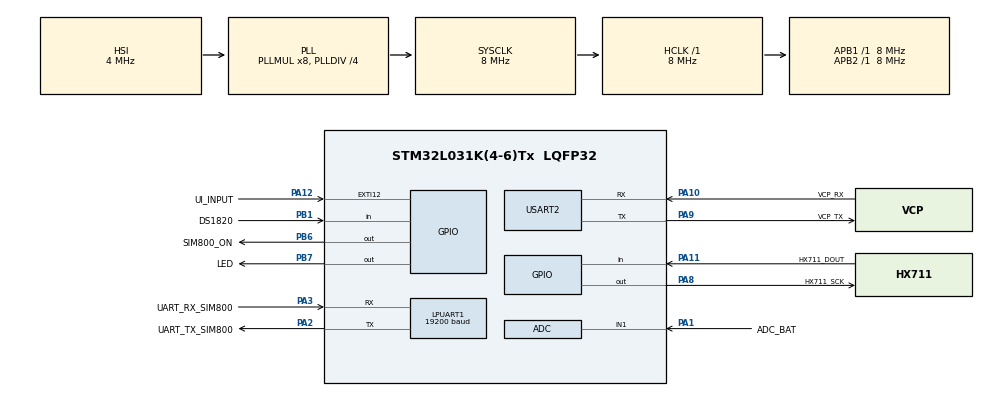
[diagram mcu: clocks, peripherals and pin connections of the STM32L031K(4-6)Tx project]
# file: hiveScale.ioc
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ADC.SamplingTime=ADC_SAMPLETIME_160CYCLES_5
LPUART1.BaudRate=19200
LPUART1.WordLength=UART_WORDLENGTH_8B
Mcu.Family=STM32L0
Mcu.Name=STM32L031K(4-6)Tx
Mcu.Package=LQFP32
Mcu.UserConstants=MODULE_SLEEPTIME,300;ALARM_MIN,2;ALARM_SEC,10;ALARM_HR,0;TIM_PRESCALER_100USEC_AT_8MHZ,800;TIM_PRESCALER_10USEC_AT_8MHZ,80;TIM_PRESCALER_1MSEC_AT_8MHZ,8000;TIM_PERIOD_100MSEC,100;TIM_PERIOD_200MSEC,200;TIM_PERIOD_3MSEC,3
NVIC.EXTI4_15_IRQn=true\:0\:0\:false\:false\:true\:true\:true
NVIC.LPUART1_IRQn=true\:0\:0\:false\:false\:true\:true\:true
NVIC.RTC_IRQn=true\:0\:0\:false\:false\:true\:true\:true
NVIC.TIM21_IRQn=true\:0\:0\:false\:false\:true\:true\:true
NVIC.TIM2_IRQn=true\:0\:0\:false\:false\:true\:true\:true
NVIC.USART2_IRQn=true\:0\:0\:false\:false\:true\:true\:true
PA1.GPIO_Label=ADC_BAT
PA1.Mode=IN1
PA1.Signal=ADC_IN1
PA10.GPIO_Label=VCP_RX
PA10.Mode=Asynchronous
PA10.Signal=USART2_RX
PA11.GPIO_Label=HX711_DOUT
PA11.Signal=GPIO_Input
PA12.GPIO_Label=UI_INPUT
PA12.GPIO_ModeDefaultEXTI=GPIO_MODE_IT_FALLING
PA12.GPIO_PuPd=GPIO_PULLUP
PA12.Signal=GPXTI12
PA13.GPIO_Label=TMS
PA13.Mode=Serial_Wire
PA13.Signal=SYS_SWDIO
PA14.GPIO_Label=TCK
PA14.Mode=Serial_Wire
PA14.Signal=SYS_SWCLK
PA2.GPIO_Label=UART_TX_SIM800
PA2.Mode=Asynchronous
PA2.Signal=LPUART1_TX
PA3.GPIO_Label=UART_RX_SIM800
PA3.Mode=Asynchronous
PA3.Signal=LPUART1_RX
PA8.GPIO_Label=HX711_SCK
PA8.PinState=GPIO_PIN_SET
PA8.Signal=GPIO_Output
PA9.GPIO_Label=VCP_TX
PA9.Mode=Asynchronous
PA9.Signal=USART2_TX
PB1.GPIO_Label=DS1820
PB1.Signal=GPIO_Input
PB6.GPIO_Label=SIM800_ON
PB6.PinState=GPIO_PIN_SET
PB6.Signal=GPIO_Output
PB7.GPIO_Label=LED
PB7.Signal=GPIO_Output
PC14-OSC32_IN.Mode=LSE-External-Oscillator
PC14-OSC32_IN.Signal=RCC_OSC32_IN
PC15-OSC32_OUT.Mode=LSE-External-Oscillator
PC15-OSC32_OUT.Signal=RCC_OSC32_OUT
ProjectManager.HeapSize=0x200
ProjectManager.StackSize=0x400
ProjectManager.TargetToolchain=STM32CubeIDE
RCC.ADCFreq_Value=4000000
RCC.AHBFreq_Value=8000000
RCC.APB1Freq_Value=8000000
RCC.APB1TimFreq_Value=8000000
RCC.APB2Freq_Value=8000000
RCC.APB2TimFreq_Value=8000000
RCC.HCLKFreq_Value=8000000
RCC.HSE_VALUE=8000000
RCC.HSI16_VALUE=16000000
RCC.HSI48_VALUE=48000000
RCC.HSIRCDiv=4
RCC.HSI_VALUE=4000000
RCC.Lpuart1ClockSelection=RCC_LPUART1CLKSOURCE_SYSCLK
RCC.MSI_VALUE=2097000
RCC.PLLDIV=RCC_PLLDIV_4
RCC.PLLMUL=RCC_PLLMUL_8
RCC.RTCClockSelection=RCC_RTCCLKSOURCE_LSE
RCC.RTCClockSelectionVirtual=RCC_RTCCLKSOURCE_LSE
RCC.SYSCLKFreq_VALUE=8000000
RCC.SYSCLKSource=RCC_SYSCLKSOURCE_PLLCLK
RCC.TimPrescaler=SYSTICK_CLKSOURCE_HCLK_DIV8
RCC.VCOOutputFreq_Value=32000000
RCC.VDD_VALUE=3
RTC.Alarm-Alarm\ A=RTC_ALARM_A
RTC.AlarmDateWeekDay-Alarm\ A=RTC_WEEKDAY_SATURDAY
RTC.AlarmDateWeekDaySel-Alarm\ A=RTC_ALARMDATEWEEKDAYSEL_WEEKDAY
RTC.AlarmMaskDateWeekDay-Alarm\ A=RTC_ALARMMASK_DATEWEEKDAY
RTC.AlarmSubSecondMask-Alarm\ A=RTC_ALARMSUBSECONDMASK_ALL
RTC.Date=23
RTC.Format=RTC_FORMAT_BIN
RTC.Hours=0
RTC.Hours_A-Alarm\ A=23
RTC.Minutes=0
RTC.Minutes_A-Alarm\ A=55
RTC.Seconds_A-Alarm\ A=0
RTC.WakeUpClock-WakeUp=RTC_WAKEUPCLOCK_CK_SPRE_16BITS
RTC.WakeUpCounter-WakeUp=MODULE_SLEEPTIME
RTC.WeekDay=RTC_WEEKDAY_SATURDAY
RTC.Year=21
TIM2.AutoReloadPreload=TIM_AUTORELOAD_PRELOAD_ENABLE
TIM2.ClockDivision=TIM_CLOCKDIVISION_DIV4
TIM2.CounterMode=TIM_COUNTERMODE_DOWN
TIM2.Period=TIM_PERIOD_200MSEC
TIM2.Prescaler=TIM_PRESCALER_1MSEC_AT_8MHZ
TIM21.AutoReloadPreload=TIM_AUTORELOAD_PRELOAD_ENABLE
TIM21.ClockDivision=TIM_CLOCKDIVISION_DIV4
TIM21.CounterMode=TIM_COUNTERMODE_UP
TIM21.Period=TIM_PERIOD_3MSEC
TIM21.Prescaler=TIM_PRESCALER_1MSEC_AT_8MHZ
USART2.VirtualMode-Asynchronous=VM_ASYNC
VP_RTC_VS_RTC_Activate.Mode=RTC_Enabled
VP_RTC_VS_RTC_Alarm_A_Intern.Mode=Alarm A
VP_RTC_VS_RTC_Calendar.Mode=RTC_Calendar
VP_RTC_VS_RTC_WakeUp_intern.Mode=WakeUp
VP_TIM21_VS_ClockSourceINT.Mode=Internal
VP_TIM2_VS_ClockSourceINT.Mode=Internal
board=NUCLEO-L031K6

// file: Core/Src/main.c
/* USER CODE BEGIN Header */
/**
 ******************************************************************************
 * @file           : main.c
 * @brief          : Main program body
 ******************************************************************************
 *
 * This software is published under GNU General Public License v3.0.
 * It is hosted on github: https://github.com/schwedenhof/hiveScale
 *
 * Author: Drk Fischer, www.schwedenhof.net
 *
 ******************************************************************************
 */
/* USER CODE END Header */
#include "main.h"

/* USER CODE BEGIN Includes */
#include "printf.h"
#include <string.h>
#include <stdlib.h>
#include <stdio.h>
#include "remanentDataHandler.h"
#include "terminalHandler.h"
#include "uartHandler.h"
#include "ringBuffer.h"
#include "hx711.h"

/* USER CODE END Includes */

ADC_HandleTypeDef hadc;

UART_HandleTypeDef hlpuart1;
UART_HandleTypeDef huart2;

RTC_HandleTypeDef hrtc;

TIM_HandleTypeDef htim2;
TIM_HandleTypeDef htim21;

/* USER CODE BEGIN PV */
APP_DATA_T g_tAppData={0};

/* USER CODE END PV */

void SystemClock_Config(void);
static void MX_GPIO_Init(void);
static void MX_LPUART1_UART_Init(void);
static void MX_USART2_UART_Init(void);
static void MX_RTC_Init(void);
static void MX_TIM2_Init(void);
static void MX_ADC_Init(void);
static void MX_TIM21_Init(void);

/* USER CODE BEGIN 0 */

void _putchar(char character){

	HAL_UART_Transmit(g_tAppData.tUart[APP_UART2].phUart, (uint8_t*) &character, (uint16_t)1,FASTUART_TIMEOUT);

}

void App_FlashLed(int iLedFlashCnt,uint32_t ulFlashPeriod){
	while(iLedFlashCnt--){
		HAL_GPIO_TogglePin(LED_GPIO_Port, LED_Pin);
		HAL_Delay(ulFlashPeriod);
		HAL_GPIO_TogglePin(LED_GPIO_Port, LED_Pin);
		HAL_Delay(ulFlashPeriod);
	}
}

void HAL_GPIO_EXTI_Callback(uint16_t GPIO_Pin){
	if(GPIO_Pin==UI_INPUT_Pin){
		if(g_tAppData.iSystemStateNext!=APP_SYSTEM_RUN){
			g_tAppData.iSystemStateNext=APP_SYSTEM_WAKEUP;
		}
	}
}

void HAL_RTC_AlarmAEventCallback(RTC_HandleTypeDef* hrtc){
	SystemClock_Config();
	g_tAppData.iSystemStateNext=APP_SYSTEM_ALARM;
}

// TIMEBASE for button and LED handling
void HAL_TIM_PeriodElapsedCallback(TIM_HandleTypeDef *phtim){

	if(phtim==&htim21){
		// LPUART1 RX timeout
		HAL_TIM_Base_Stop_IT(&htim21); // stop timeout timer
		HAL_GPIO_TogglePin(LED_GPIO_Port,  LED_Pin);
		HAL_GPIO_TogglePin(LED_GPIO_Port,  LED_Pin);
		if(g_tAppData.tUart[APP_LPUART1].fRxMsg == UART_RX_ONGOING){
			g_tAppData.tUart[APP_LPUART1].fRxMsg=UART_RX_ENDOFFRAME;
		}
	}

	if(phtim==&htim2){
		// time base for user interface button and LED
		g_tAppData.ulTimTick++;

		if(!(g_tAppData.ulTimTick%g_tAppData.iBlinkPeriod)){
			if(g_tAppData.fBlink){
				HAL_GPIO_WritePin(LED_GPIO_Port, LED_Pin, GPIO_PIN_SET);
			}

			// check user interface input signal
			if(GPIO_PIN_RESET == HAL_GPIO_ReadPin(UI_INPUT_GPIO_Port, UI_INPUT_Pin)){
				// active input signal detected
				switch (g_tAppData.iCmdState){

				case APP_CMD_STATE_IDLE: // start, first active input detected
					g_tAppData.iCmd=1;
					g_tAppData.iCmdState=APP_CMD_STATE_ACTIVE;
					break;

				case APP_CMD_STATE_ACTIVE: // ongoing active input state
					g_tAppData.iCmd++;
					break;

				case APP_CMD_STATE_END: // new active phase, but last cmd not acknowledged yet
					// do nothing
					break;

				default: // should never happen
					g_tAppData.iCmdState=APP_CMD_STATE_IDLE; // reset state machine
					g_tAppData.iCmd=0; // reset cmd code
					break;
				}
			}
		}
		else {
			HAL_GPIO_WritePin(LED_GPIO_Port, LED_Pin, GPIO_PIN_RESET);
		}

		if(GPIO_PIN_SET == HAL_GPIO_ReadPin(UI_INPUT_GPIO_Port, UI_INPUT_Pin)) { // inactive input
			switch (g_tAppData.iCmdState){

			case APP_CMD_STATE_IDLE: // idle wait for first active signal
				g_tAppData.iCmd=APP_CMD_STATE_IDLE; // reset cmd code
				break;

			case APP_CMD_STATE_ACTIVE: // end, first inactive state after active phase
				g_tAppData.iCmdState=APP_CMD_STATE_END;
				break;

			case APP_CMD_STATE_END: // idle, cmd not executed yet, wait for command acknowledge
				break;

			default:  // should never happen
				g_tAppData.iCmdState=APP_CMD_STATE_IDLE; // reset state machine
				g_tAppData.iCmd=0; // reset cmd code
				break;
			}
		}
	}
}

static void App_Init(void){
	g_tAppData.tUart[APP_LPUART1].phUart=&hlpuart1;
	g_tAppData.tUart[APP_UART2].phUart=&huart2;
	g_tAppData.phtim2=&htim2;
	g_tAppData.phtim21=&htim21;
	g_tAppData.phrtc=&hrtc;
	g_tAppData.phadc=&hadc;

	HAL_RTC_GetAlarm(g_tAppData.phrtc, &g_tAppData.tAlarm, RTC_ALARM_A, RTC_FORMAT_BIN);

	g_tAppData.iErrorCnt=0;

	g_tAppData.iSystemState=APP_SYSTEM_STOP;
	g_tAppData.iSystemStateNext=APP_SYSTEM_STOP;

	g_tAppData.fBlink=1;
	g_tAppData.iBlinkPeriod=5;

	g_tAppData.iCmd=0;
	g_tAppData.iCmdState=APP_CMD_STATE_IDLE;

	Rb_BufferClear();

	terminalInitCmdList();
}

void App_Hx711Init(void){
	HX711_CONFIG_T tHx711Config;

	tHx711Config.eGain=HX711_GAIN_128;
	tHx711Config.iIgnoreBits=8;
	tHx711Config.iArraySize=1;
	tHx711Config.iFilterDeviation=40;
	tHx711Config.iMeasurementPause=50;
	tHx711Config.ulTara=g_tAppData.tRemanentData.ulTara;
	tHx711Config.ulCali=g_tAppData.tRemanentData.ulCali;
	hx711_init(&tHx711Config);

}

void App_AlarmInit(void){
	HAL_RTCEx_SetWakeUpTimer_IT(g_tAppData.phrtc, g_tAppData.tRemanentData.ulWakeupPeriod, RTC_WAKEUPCLOCK_CK_SPRE_16BITS);
	g_tAppData.tAlarm.AlarmTime.Hours=g_tAppData.tRemanentData.bAlarmHrs;
	g_tAppData.tAlarm.AlarmTime.Minutes=g_tAppData.tRemanentData.bAlarmMin;
	HAL_RTC_SetAlarm_IT(g_tAppData.phrtc, &g_tAppData.tAlarm, RTC_FORMAT_BIN);
}

APP_RETURN_E App_Sim800On(void){
	return APP_OK;
}

void App_ErrorHandler(void){
	while(1){
	}
}

/* USER CODE END 0 */

int main(void)
{
  /* USER CODE BEGIN 1 */
	HAL_StatusTypeDef eStat=HAL_OK;
  /* USER CODE END 1 */

  /* MCU Configuration--------------------------------------------------------*/

  /* Reset of all peripherals, Initializes the Flash interface and the Systick. */
  HAL_Init();

  /* Configure the system clock */
  SystemClock_Config();

  /* Initialize all configured peripherals */
  MX_GPIO_Init();
  MX_LPUART1_UART_Init();
  MX_USART2_UART_Init();
  MX_TIM2_Init();
  MX_ADC_Init();
  MX_TIM21_Init();
  /* USER CODE BEGIN 2 */

	MX_RTC_Init();
#if(0)
	/*##-Check if Data stored in BackUp register1: No Need to reconfigure RTC if flag is set#*/
	/* Read the Back Up Register 0 Data */
	if (!((HAL_RTCEx_BKUPRead(&hrtc, RTC_BKP_DR0)&BKUP_FLAG_RTC))){
		/* Configure RTC Calendar only if flag not set*/
		MX_RTC_Init();
	}
	else {
		hrtc.Instance = RTC;
		hrtc.Init.HourFormat = RTC_HOURFORMAT_24;
		hrtc.Init.AsynchPrediv = 127;
		hrtc.Init.SynchPrediv = 255;
		hrtc.Init.OutPut = RTC_OUTPUT_DISABLE;
		hrtc.Init.OutPutRemap = RTC_OUTPUT_REMAP_NONE;
		hrtc.Init.OutPutPolarity = RTC_OUTPUT_POLARITY_HIGH;
		hrtc.Init.OutPutType = RTC_OUTPUT_TYPE_OPENDRAIN;
		if (HAL_RTC_Init(&hrtc) != HAL_OK)
		{
			Error_Handler();
		}
	}
#endif

	App_Init();
	Term_TerminalCommandHandler(TERM_SIM800_OFF,0,0);

	// start cyclic timer for user interface button and LED -> reload event is handled in callback function
	HAL_TIM_Base_Start_IT(&htim2);
	printf("Hello hiveScale" APP_EOL);

	// start waiting for incoming data -> RX event will be handled in callback function
	HAL_UART_Receive_IT(g_tAppData.tUart[APP_UART2].phUart, &g_tAppData.tUart[APP_UART2].abRxBuffer[g_tAppData.tUart[APP_UART2].iRxIdx], 1);

	Rd_Load((uint8_t*)&g_tAppData.tRemanentData, sizeof(g_tAppData.tRemanentData));
	App_Hx711Init();
	App_AlarmInit();

	// clear wakeup interrupt flag in order to enter standby mode again
	__HAL_PWR_CLEAR_FLAG(PWR_FLAG_WU);
	__HAL_RTC_CLEAR_FLAG(RTC_ISR_ALRAF);

	// start/stop time once
	// not sure why this is necessary, has to be checked
	HAL_TIM_Base_Start_IT(&htim21); // start UART timeout timer
	HAL_TIM_Base_Stop_IT(&htim21); // stop UART timeout timer
	__HAL_TIM_SET_COUNTER(&htim21,0);

#ifdef DEBUG
	g_tAppData.iSystemStateNext=APP_SYSTEM_RUN;
#else
	Term_TerminalCommandHandler(TERM_SIM800_ON,0,0);
	Term_TerminalCommandHandler(TERM_SETTIME,0,0);
	Term_TerminalCommandHandler(TERM_SIM800_OFF,0,0);
#endif

	HAL_RTC_GetTime(g_tAppData.phrtc, &g_tAppData.tTime, RTC_FORMAT_BIN);
	HAL_RTC_GetDate(g_tAppData.phrtc, &g_tAppData.tDate, RTC_FORMAT_BIN);
	printf("%04d-%02d-%02d %02d:%02d:%02d" APP_EOL, g_tAppData.tDate.Year+2000, g_tAppData.tDate.Month, g_tAppData.tDate.Date, g_tAppData.tTime.Hours, g_tAppData.tTime.Minutes, g_tAppData.tTime.Seconds);

  /* USER CODE END 2 */

  /* Infinite loop */
  /* USER CODE BEGIN WHILE */
	while(1){

		g_tAppData.iSystemState=g_tAppData.iSystemStateNext;

		switch(g_tAppData.iSystemState){

		case APP_SYSTEM_STOP:
			Term_TerminalCommandHandler(TERM_BLINK_OFF,0,0);
			Term_TerminalCommandHandler(TERM_SIM800_OFF,0,0);
			Term_TerminalCommandHandler(TERM_STOP,0,0);
			// now sleeping
			// ...
			// wakeup
			if(g_tAppData.iSystemState==g_tAppData.iSystemStateNext)
				g_tAppData.iSystemStateNext=APP_SYSTEM_MEASURE;
			break;

		case APP_SYSTEM_MEASURE:
			Term_TerminalCommandHandler(TERM_HX,0,0);
			if(g_tAppData.iSystemState==g_tAppData.iSystemStateNext)
				g_tAppData.iSystemStateNext=APP_SYSTEM_STOP;
			break;

		case APP_SYSTEM_WAKEUP:
			printf("runmode" APP_EOL);
			Term_TerminalCommandHandler(TERM_BLINK_ON,0,0);
			// start waiting for incoming data -> RX event will be handled in callback function
			Uh_UartReset(APP_UART2);
			g_tAppData.iSystemStateNext=APP_SYSTEM_RUN;
			break;

		case APP_SYSTEM_ALARM:
			HAL_RTC_GetTime(g_tAppData.phrtc, &g_tAppData.tTime, RTC_FORMAT_BIN);
			HAL_RTC_GetDate(g_tAppData.phrtc, &g_tAppData.tDate, RTC_FORMAT_BIN);
			printf("alarm at %04d-%02d-%02d %02d:%02d:%02d" APP_EOL, g_tAppData.tDate.Year+2000, g_tAppData.tDate.Month, g_tAppData.tDate.Date, g_tAppData.tTime.Hours, g_tAppData.tTime.Minutes, g_tAppData.tTime.Seconds);
			Term_TerminalCommandHandler(TERM_SIM800_ON,0,0);
			Term_TerminalCommandHandler(TERM_PUSH,0,0);
			Term_TerminalCommandHandler(TERM_SIM800_OFF,0,0);
			// set next alarm (increment alarm hour by defined value)
			g_tAppData.tAlarm.AlarmTime.Hours+=g_tAppData.tRemanentData.bUploadHoursIncrement;
			if(g_tAppData.tAlarm.AlarmTime.Hours>23)
				g_tAppData.tAlarm.AlarmTime.Hours-=24;

			HAL_RTC_SetAlarm_IT(g_tAppData.phrtc, &g_tAppData.tAlarm, RTC_FORMAT_BIN);

			if(g_tAppData.iSystemState==g_tAppData.iSystemStateNext)
				g_tAppData.iSystemStateNext=APP_SYSTEM_STOP;
			break;

		case APP_SYSTEM_RUN:
		default:
			if(g_tAppData.iCmdState==APP_CMD_STATE_END){
				switch(g_tAppData.iCmd){

				case 2: // 2 pulses
					Term_TerminalCommandHandler(TERM_STARTAPP,0,0);
					break;

				case 5: // 5 pulses
					Term_TerminalCommandHandler(TERM_TARA,0,0);
					break;

				case 6: // 6 pulses
					Term_TerminalCommandHandler(TERM_CALI,0,0);
					break;

				case 7:
					Term_TerminalCommandHandler(TERM_BAT_LOW,0,0);
					break;

				case 8:
					Term_TerminalCommandHandler(TERM_BAT_HIGH,0,0);
					break;

				case 9: // store remanent data
					Term_TerminalCommandHandler(TERM_REMSTORE,0,0);
					break;

				case 10: // test data upload to server
					Term_TerminalCommandHandler(TERM_HX,0,0);
					Term_TerminalCommandHandler(TERM_SIM800_ON,0,0);
					Term_TerminalCommandHandler(TERM_PUSH,0,0);
					Term_TerminalCommandHandler(TERM_SIM800_OFF,0,0);
					break;

				default :
					// unknown cmd code
					break;
				}
				g_tAppData.iCmdState=APP_CMD_STATE_IDLE;
			}

			if(UART_RX_NL==Uh_UartRxWait(APP_UART2, 0)){
				terminalHandler(g_tAppData.tUart[APP_UART2].abDataBuffer, g_tAppData.tUart[APP_UART2].iDataLen);
			}

			if(UART_RX_ONGOING != Uh_UartRxWait(APP_LPUART1, 0)){
				// send (echo) received data to fast usart
				eStat=HAL_UART_Transmit(g_tAppData.tUart[APP_UART2].phUart, g_tAppData.tUart[APP_LPUART1].abDataBuffer, g_tAppData.tUart[APP_LPUART1].iDataLen,FASTUART_TIMEOUT);
				if(eStat==HAL_BUSY){
					g_tAppData.iErrorCnt++;
				}
			}

			// keep SystemStateNext untouched, SystemStateNext might have changed in terminal handler
			break;

		}

#if(0)

		HAL_Delay(500);
		HAL_RTC_WaitForSynchro(&hrtc);
		HAL_RTC_GetTime(&hrtc, &tTime, RTC_FORMAT_BIN);
		tTime.Hours=13;
		tTime.Minutes=10;
		tTime.Seconds=0;
		HAL_RTC_SetTime(&hrtc,&tTime,RTC_FORMAT_BIN);

		HAL_RTC_GetAlarm(&hrtc,&tAlarm,RTC_ALARM_A,RTC_FORMAT_BIN);
		tAlarm.AlarmTime.Hours=13;
		tAlarm.AlarmTime.Minutes=12;
		HAL_RTC_SetAlarm(&hrtc,&tAlarm,RTC_FORMAT_BIN);

#endif

    /* USER CODE END WHILE */

	}
}

void SystemClock_Config(void)
{
  RCC_OscInitTypeDef RCC_OscInitStruct = {0};
  RCC_ClkInitTypeDef RCC_ClkInitStruct = {0};
  RCC_PeriphCLKInitTypeDef PeriphClkInit = {0};

  /** Configure the main internal regulator output voltage
  */
  __HAL_PWR_VOLTAGESCALING_CONFIG(PWR_REGULATOR_VOLTAGE_SCALE1);
  /** Configure LSE Drive Capability
  */
  HAL_PWR_EnableBkUpAccess();
  __HAL_RCC_LSEDRIVE_CONFIG(RCC_LSEDRIVE_LOW);
  /** Initializes the RCC Oscillators according to the specified parameters
  * in the RCC_OscInitTypeDef structure.
  */
  RCC_OscInitStruct.OscillatorType = RCC_OSCILLATORTYPE_HSI|RCC_OSCILLATORTYPE_LSE;
  RCC_OscInitStruct.LSEState = RCC_LSE_ON;
  RCC_OscInitStruct.HSIState = RCC_HSI_DIV4;
  RCC_OscInitStruct.HSICalibrationValue = RCC_HSICALIBRATION_DEFAULT;
  RCC_OscInitStruct.PLL.PLLState = RCC_PLL_ON;
  RCC_OscInitStruct.PLL.PLLSource = RCC_PLLSOURCE_HSI;
  RCC_OscInitStruct.PLL.PLLMUL = RCC_PLLMUL_8;
  RCC_OscInitStruct.PLL.PLLDIV = RCC_PLLDIV_4;
  if (HAL_RCC_OscConfig(&RCC_OscInitStruct) != HAL_OK)
  {
    Error_Handler();
  }
  /** Initializes the CPU, AHB and APB buses clocks
  */
  RCC_ClkInitStruct.ClockType = RCC_CLOCKTYPE_HCLK|RCC_CLOCKTYPE_SYSCLK
                              |RCC_CLOCKTYPE_PCLK1|RCC_CLOCKTYPE_PCLK2;
  RCC_ClkInitStruct.SYSCLKSource = RCC_SYSCLKSOURCE_PLLCLK;
  RCC_ClkInitStruct.AHBCLKDivider = RCC_SYSCLK_DIV1;
  RCC_ClkInitStruct.APB1CLKDivider = RCC_HCLK_DIV1;
  RCC_ClkInitStruct.APB2CLKDivider = RCC_HCLK_DIV1;

  if (HAL_RCC_ClockConfig(&RCC_ClkInitStruct, FLASH_LATENCY_0) != HAL_OK)
  {
    Error_Handler();
  }
  PeriphClkInit.PeriphClockSelection = RCC_PERIPHCLK_USART2|RCC_PERIPHCLK_LPUART1
                              |RCC_PERIPHCLK_RTC;
  PeriphClkInit.Usart2ClockSelection = RCC_USART2CLKSOURCE_PCLK1;
  PeriphClkInit.Lpuart1ClockSelection = RCC_LPUART1CLKSOURCE_SYSCLK;
  PeriphClkInit.RTCClockSelection = RCC_RTCCLKSOURCE_LSE;
  if (HAL_RCCEx_PeriphCLKConfig(&PeriphClkInit) != HAL_OK)
  {
    Error_Handler();
  }
}

static void MX_ADC_Init(void)
{

  ADC_ChannelConfTypeDef sConfig = {0};

  /** Configure the global features of the ADC (Clock, Resolution, Data Alignment and number of conversion)
  */
  hadc.Instance = ADC1;
  hadc.Init.OversamplingMode = DISABLE;
  hadc.Init.ClockPrescaler = ADC_CLOCK_SYNC_PCLK_DIV1;
  hadc.Init.Resolution = ADC_RESOLUTION_12B;
  hadc.Init.SamplingTime = ADC_SAMPLETIME_160CYCLES_5;
  hadc.Init.ScanConvMode = ADC_SCAN_DIRECTION_FORWARD;
  hadc.Init.DataAlign = ADC_DATAALIGN_RIGHT;
  hadc.Init.ContinuousConvMode = DISABLE;
  hadc.Init.DiscontinuousConvMode = DISABLE;
  hadc.Init.ExternalTrigConvEdge = ADC_EXTERNALTRIGCONVEDGE_NONE;
  hadc.Init.ExternalTrigConv = ADC_SOFTWARE_START;
  hadc.Init.DMAContinuousRequests = DISABLE;
  hadc.Init.EOCSelection = ADC_EOC_SINGLE_CONV;
  hadc.Init.Overrun = ADC_OVR_DATA_PRESERVED;
  hadc.Init.LowPowerAutoWait = DISABLE;
  hadc.Init.LowPowerFrequencyMode = DISABLE;
  hadc.Init.LowPowerAutoPowerOff = DISABLE;
  if (HAL_ADC_Init(&hadc) != HAL_OK)
  {
    Error_Handler();
  }
  /** Configure for the selected ADC regular channel to be converted.
  */
  sConfig.Channel = ADC_CHANNEL_1;
  sConfig.Rank = ADC_RANK_CHANNEL_NUMBER;
  if (HAL_ADC_ConfigChannel(&hadc, &sConfig) != HAL_OK)
  {
    Error_Handler();
  }

}

static void MX_LPUART1_UART_Init(void)
{

  hlpuart1.Instance = LPUART1;
  hlpuart1.Init.BaudRate = 19200;
  hlpuart1.Init.WordLength = UART_WORDLENGTH_8B;
  hlpuart1.Init.StopBits = UART_STOPBITS_1;
  hlpuart1.Init.Parity = UART_PARITY_NONE;
  hlpuart1.Init.Mode = UART_MODE_TX_RX;
  hlpuart1.Init.HwFlowCtl = UART_HWCONTROL_NONE;
  hlpuart1.Init.OneBitSampling = UART_ONE_BIT_SAMPLE_DISABLE;
  hlpuart1.AdvancedInit.AdvFeatureInit = UART_ADVFEATURE_NO_INIT;
  if (HAL_UART_Init(&hlpuart1) != HAL_OK)
  {
    Error_Handler();
  }

}

static void MX_USART2_UART_Init(void)
{

  huart2.Instance = USART2;
  huart2.Init.BaudRate = 115200;
  huart2.Init.WordLength = UART_WORDLENGTH_8B;
  huart2.Init.StopBits = UART_STOPBITS_1;
  huart2.Init.Parity = UART_PARITY_NONE;
  huart2.Init.Mode = UART_MODE_TX_RX;
  huart2.Init.HwFlowCtl = UART_HWCONTROL_NONE;
  huart2.Init.OverSampling = UART_OVERSAMPLING_16;
  huart2.Init.OneBitSampling = UART_ONE_BIT_SAMPLE_DISABLE;
  huart2.AdvancedInit.AdvFeatureInit = UART_ADVFEATURE_NO_INIT;
  if (HAL_UART_Init(&huart2) != HAL_OK)
  {
    Error_Handler();
  }

}

static void MX_RTC_Init(void)
{

  RTC_TimeTypeDef sTime = {0};
  RTC_DateTypeDef sDate = {0};
  RTC_AlarmTypeDef sAlarm = {0};

  /** Initialize RTC Only
  */
  hrtc.Instance = RTC;
  hrtc.Init.HourFormat = RTC_HOURFORMAT_24;
  hrtc.Init.AsynchPrediv = 127;
  hrtc.Init.SynchPrediv = 255;
  hrtc.Init.OutPut = RTC_OUTPUT_DISABLE;
  hrtc.Init.OutPutRemap = RTC_OUTPUT_REMAP_NONE;
  hrtc.Init.OutPutPolarity = RTC_OUTPUT_POLARITY_HIGH;
  hrtc.Init.OutPutType = RTC_OUTPUT_TYPE_OPENDRAIN;
  if (HAL_RTC_Init(&hrtc) != HAL_OK)
  {
    Error_Handler();
  }

  /** Initialize RTC and set the Time and Date
  */
  sTime.Hours = 0;
  sTime.Minutes = 0;
  sTime.Seconds = 0;
  sTime.DayLightSaving = RTC_DAYLIGHTSAVING_NONE;
  sTime.StoreOperation = RTC_STOREOPERATION_RESET;
  if (HAL_RTC_SetTime(&hrtc, &sTime, RTC_FORMAT_BIN) != HAL_OK)
  {
    Error_Handler();
  }
  sDate.WeekDay = RTC_WEEKDAY_SATURDAY;
  sDate.Month = RTC_MONTH_JANUARY;
  sDate.Date = 23;
  sDate.Year = 21;

  if (HAL_RTC_SetDate(&hrtc, &sDate, RTC_FORMAT_BIN) != HAL_OK)
  {
    Error_Handler();
  }
  /** Enable the Alarm A
  */
  sAlarm.AlarmTime.Hours = 23;
  sAlarm.AlarmTime.Minutes = 55;
  sAlarm.AlarmTime.Seconds = 0;
  sAlarm.AlarmTime.SubSeconds = 0;
  sAlarm.AlarmTime.DayLightSaving = RTC_DAYLIGHTSAVING_NONE;
  sAlarm.AlarmTime.StoreOperation = RTC_STOREOPERATION_RESET;
  sAlarm.AlarmMask = RTC_ALARMMASK_DATEWEEKDAY;
  sAlarm.AlarmSubSecondMask = RTC_ALARMSUBSECONDMASK_ALL;
  sAlarm.AlarmDateWeekDaySel = RTC_ALARMDATEWEEKDAYSEL_WEEKDAY;
  sAlarm.AlarmDateWeekDay = RTC_WEEKDAY_SATURDAY;
  sAlarm.Alarm = RTC_ALARM_A;
  if (HAL_RTC_SetAlarm_IT(&hrtc, &sAlarm, RTC_FORMAT_BIN) != HAL_OK)
  {
    Error_Handler();
  }
  /** Enable the WakeUp
  */
  if (HAL_RTCEx_SetWakeUpTimer_IT(&hrtc, MODULE_SLEEPTIME, RTC_WAKEUPCLOCK_CK_SPRE_16BITS) != HAL_OK)
  {
    Error_Handler();
  }
  /* USER CODE BEGIN RTC_Init 2 */

	/*##- SET Flag in RTC Backup data Register1 #######################*/
	HAL_RTCEx_BKUPWrite(&hrtc, RTC_BKP_DR0, HAL_RTCEx_BKUPRead(&hrtc, RTC_BKP_DR0)|BKUP_FLAG_RTC);

  /* USER CODE END RTC_Init 2 */

}

static void MX_TIM2_Init(void)
{

  TIM_ClockConfigTypeDef sClockSourceConfig = {0};
  TIM_MasterConfigTypeDef sMasterConfig = {0};

  htim2.Instance = TIM2;
  htim2.Init.Prescaler = TIM_PRESCALER_1MSEC_AT_8MHZ;
  htim2.Init.CounterMode = TIM_COUNTERMODE_DOWN;
  htim2.Init.Period = TIM_PERIOD_200MSEC;
  htim2.Init.ClockDivision = TIM_CLOCKDIVISION_DIV4;
  htim2.Init.AutoReloadPreload = TIM_AUTORELOAD_PRELOAD_ENABLE;
  if (HAL_TIM_Base_Init(&htim2) != HAL_OK)
  {
    Error_Handler();
  }
  sClockSourceConfig.ClockSource = TIM_CLOCKSOURCE_INTERNAL;
  if (HAL_TIM_ConfigClockSource(&htim2, &sClockSourceConfig) != HAL_OK)
  {
    Error_Handler();
  }
  sMasterConfig.MasterOutputTrigger = TIM_TRGO_RESET;
  sMasterConfig.MasterSlaveMode = TIM_MASTERSLAVEMODE_DISABLE;
  if (HAL_TIMEx_MasterConfigSynchronization(&htim2, &sMasterConfig) != HAL_OK)
  {
    Error_Handler();
  }

}

static void MX_TIM21_Init(void)
{

  TIM_ClockConfigTypeDef sClockSourceConfig = {0};
  TIM_MasterConfigTypeDef sMasterConfig = {0};

  htim21.Instance = TIM21;
  htim21.Init.Prescaler = TIM_PRESCALER_1MSEC_AT_8MHZ;
  htim21.Init.CounterMode = TIM_COUNTERMODE_UP;
  htim21.Init.Period = TIM_PERIOD_3MSEC;
  htim21.Init.ClockDivision = TIM_CLOCKDIVISION_DIV4;
  htim21.Init.AutoReloadPreload = TIM_AUTORELOAD_PRELOAD_ENABLE;
  if (HAL_TIM_Base_Init(&htim21) != HAL_OK)
  {
    Error_Handler();
  }
  sClockSourceConfig.ClockSource = TIM_CLOCKSOURCE_INTERNAL;
  if (HAL_TIM_ConfigClockSource(&htim21, &sClockSourceConfig) != HAL_OK)
  {
    Error_Handler();
  }
  sMasterConfig.MasterOutputTrigger = TIM_TRGO_RESET;
  sMasterConfig.MasterSlaveMode = TIM_MASTERSLAVEMODE_DISABLE;
  if (HAL_TIMEx_MasterConfigSynchronization(&htim21, &sMasterConfig) != HAL_OK)
  {
    Error_Handler();
  }

}

static void MX_GPIO_Init(void)
{
  GPIO_InitTypeDef GPIO_InitStruct = {0};

  /* GPIO Ports Clock Enable */
  __HAL_RCC_GPIOC_CLK_ENABLE();
  __HAL_RCC_GPIOA_CLK_ENABLE();
  __HAL_RCC_GPIOB_CLK_ENABLE();

  /*Configure GPIO pin Output Level */
  HAL_GPIO_WritePin(HX711_SCK_GPIO_Port, HX711_SCK_Pin, GPIO_PIN_SET);

  /*Configure GPIO pin Output Level */
  HAL_GPIO_WritePin(SIM800_ON_GPIO_Port, SIM800_ON_Pin, GPIO_PIN_SET);

  /*Configure GPIO pin Output Level */
  HAL_GPIO_WritePin(LED_GPIO_Port, LED_Pin, GPIO_PIN_RESET);

  /*Configure GPIO pins : PA0 PA4 PA5 PA6
                           PA7 PA15 */
  GPIO_InitStruct.Pin = GPIO_PIN_0|GPIO_PIN_4|GPIO_PIN_5|GPIO_PIN_6
                          |GPIO_PIN_7|GPIO_PIN_15;
  GPIO_InitStruct.Mode = GPIO_MODE_ANALOG;
  GPIO_InitStruct.Pull = GPIO_NOPULL;
  HAL_GPIO_Init(GPIOA, &GPIO_InitStruct);

  /*Configure GPIO pins : PB0 PB3 PB4 PB5 */
  GPIO_InitStruct.Pin = GPIO_PIN_0|GPIO_PIN_3|GPIO_PIN_4|GPIO_PIN_5;
  GPIO_InitStruct.Mode = GPIO_MODE_ANALOG;
  GPIO_InitStruct.Pull = GPIO_NOPULL;
  HAL_GPIO_Init(GPIOB, &GPIO_InitStruct);

  /*Configure GPIO pin : DS1820_Pin */
  GPIO_InitStruct.Pin = DS1820_Pin;
  GPIO_InitStruct.Mode = GPIO_MODE_INPUT;
  GPIO_InitStruct.Pull = GPIO_NOPULL;
  HAL_GPIO_Init(DS1820_GPIO_Port, &GPIO_InitStruct);

  /*Configure GPIO pin : HX711_SCK_Pin */
  GPIO_InitStruct.Pin = HX711_SCK_Pin;
  GPIO_InitStruct.Mode = GPIO_MODE_OUTPUT_PP;
  GPIO_InitStruct.Pull = GPIO_NOPULL;
  GPIO_InitStruct.Speed = GPIO_SPEED_FREQ_LOW;
  HAL_GPIO_Init(HX711_SCK_GPIO_Port, &GPIO_InitStruct);

  /*Configure GPIO pin : HX711_DOUT_Pin */
  GPIO_InitStruct.Pin = HX711_DOUT_Pin;
  GPIO_InitStruct.Mode = GPIO_MODE_INPUT;
  GPIO_InitStruct.Pull = GPIO_NOPULL;
  HAL_GPIO_Init(HX711_DOUT_GPIO_Port, &GPIO_InitStruct);

  /*Configure GPIO pin : UI_INPUT_Pin */
  GPIO_InitStruct.Pin = UI_INPUT_Pin;
  GPIO_InitStruct.Mode = GPIO_MODE_IT_FALLING;
  GPIO_InitStruct.Pull = GPIO_PULLUP;
  HAL_GPIO_Init(UI_INPUT_GPIO_Port, &GPIO_InitStruct);

  /*Configure GPIO pins : SIM800_ON_Pin LED_Pin */
  GPIO_InitStruct.Pin = SIM800_ON_Pin|LED_Pin;
  GPIO_InitStruct.Mode = GPIO_MODE_OUTPUT_PP;
  GPIO_InitStruct.Pull = GPIO_NOPULL;
  GPIO_InitStruct.Speed = GPIO_SPEED_FREQ_LOW;
  HAL_GPIO_Init(GPIOB, &GPIO_InitStruct);

  /* EXTI interrupt init*/
  HAL_NVIC_SetPriority(EXTI4_15_IRQn, 0, 0);
  HAL_NVIC_EnableIRQ(EXTI4_15_IRQn);

}

void Error_Handler(void)
{
	__disable_irq();
	while (1)
	{
	}
}

/************************ (C) COPYRIGHT STMicroelectronics *****END OF FILE****/
